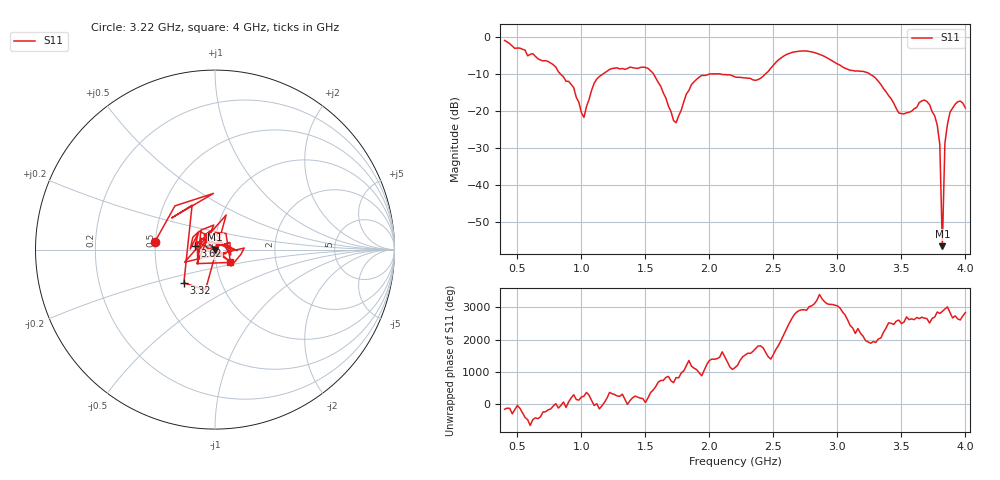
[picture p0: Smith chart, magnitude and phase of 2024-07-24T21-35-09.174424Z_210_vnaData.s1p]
!Created with skrf (http://scikit-rf.org).
# Hz S RI R 50.0
!freq ReS11 ImS11
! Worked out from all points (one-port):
!   181 points, 400 MHz to 4 GHz, reference 50 ohm
!   lowest |S11| = -56.6 dB at 3.82 GHz (marker M1), VSWR 1.00, Z = 50.1 - j0.0106 ohm
!   |S11| at or under -10 dB: 838.2 MHz to 1.165 GHz (326.7 MHz wide, 32.6 % of centre); 1.565 GHz to 1.993 GHz (427.9 MHz wide, 24.1 % of centre); 3.256 GHz to end of sweep (the widest 3 of 4)
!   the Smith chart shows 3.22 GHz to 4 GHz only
!   S11 on the Smith chart (normalised r, x): 3.22 GHz: 0.50, +0.04; 3.32 GHz: 0.66, -0.26; 3.62 GHz: 0.80, +0.03; 4 GHz: 1.17, -0.17
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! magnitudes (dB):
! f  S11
! 400 MHz  -0.8
! 860 MHz  -10.7
! 940 MHz  -13.6
! 1.02 GHz  -21.7
! 1.12 GHz  -11.3
! 1.3 GHz  -8.6
! 1.52 GHz  -8.4
! 1.72 GHz  -22.6
! 1.76 GHz  -21.3
! 1.86 GHz  -12.8
! 1.94 GHz  -10.3
! 2.2 GHz  -10.7
! 2.38 GHz  -11.4
! 2.66 GHz  -3.9
! 3.1 GHz  -8.9
! 3.22 GHz  -9.4
! 3.32 GHz  -11.9
! 3.48 GHz  -20.5
! 3.56 GHz  -20.3
! 3.62 GHz  -19.0
! 3.7 GHz  -17.4
! 3.78 GHz  -23.8
! 3.8 GHz  -29.0
! 3.82 GHz  -56.6
! 3.84 GHz  -28.6
! 3.86 GHz  -23.5
! 3.94 GHz  -17.5
! 4 GHz  -19.1
